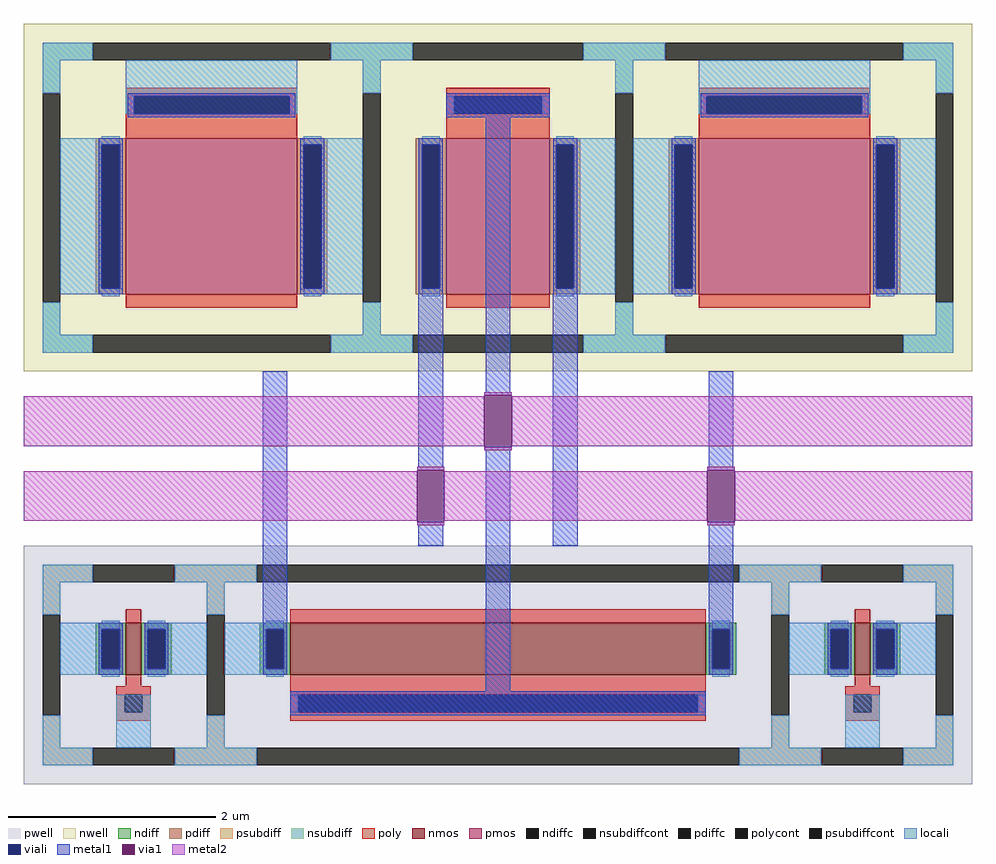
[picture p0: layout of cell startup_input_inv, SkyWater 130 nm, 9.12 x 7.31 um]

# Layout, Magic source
magic
tech sky130A
magscale 1 2
<< locali >>
rect 2024 498 2354 601
rect 3126 498 3456 601
rect 1898 151 1978 451
rect 2400 151 2480 451
rect 2886 151 2966 451
rect 3000 151 3080 451
rect 3502 151 3582 451
rect 1898 -581 1978 -481
rect 2100 -581 2180 -481
rect 2214 -581 2294 -481
rect 3300 -581 3380 -481
rect 3502 -581 3582 -481
rect 2006 -721 2072 -619
rect 3408 -721 3474 -619
<< metal1 >>
rect 2640 492 2840 538
rect 2287 -481 2335 3
rect 2587 -181 2635 151
rect 2716 -37 2764 492
rect 2714 -43 2766 -37
rect 2714 -149 2766 -143
rect 2585 -187 2637 -181
rect 2585 -293 2637 -287
rect 2587 -333 2635 -293
rect 2716 -613 2764 -149
rect 2845 -333 2893 151
rect 3145 -181 3193 3
rect 3143 -187 3195 -181
rect 3143 -293 3195 -287
rect 3145 -481 3193 -293
rect 2340 -659 3140 -613
<< via1 >>
rect 2714 -143 2766 -43
rect 2585 -287 2637 -187
rect 3143 -287 3195 -187
<< metal2 >>
rect 2714 -43 2766 -37
rect 1828 -141 2714 -45
rect 2766 -141 3652 -45
rect 2714 -149 2766 -143
rect 2585 -187 2637 -181
rect 1828 -285 2585 -189
rect 3143 -187 3195 -181
rect 2637 -285 3143 -189
rect 2585 -293 2637 -287
rect 3195 -285 3652 -189
rect 3143 -293 3195 -287
use sky130_fd_pr__nfet_01v8_DGP55P  sky130_fd_pr__nfet_01v8_DGP55P_0
transform 1 0 2740 0 1 -562
box -596 -229 596 229
use sky130_fd_pr__nfet_01v8_L9WNCD  sky130_fd_pr__nfet_01v8_L9WNCD_0
transform 1 0 3441 0 1 -562
box -211 -229 211 229
use sky130_fd_pr__nfet_01v8_L9WNCD  sky130_fd_pr__nfet_01v8_L9WNCD_1
transform 1 0 2039 0 1 -562
box -211 -229 211 229
use sky130_fd_pr__pfet_01v8_4N94TK  sky130_fd_pr__pfet_01v8_4N94TK_0
transform 1 0 3291 0 1 337
box -361 -334 361 334
use sky130_fd_pr__pfet_01v8_4N94TK  sky130_fd_pr__pfet_01v8_4N94TK_1
transform 1 0 2189 0 1 337
box -361 -334 361 334
use sky130_fd_pr__pfet_01v8_ADYTEV  sky130_fd_pr__pfet_01v8_ADYTEV_0
transform 1 0 2740 0 1 337
box -296 -334 296 334
<< end >>

# cell sky130_fd_pr__nfet_01v8_DGP55P: kit device sky130_fd_pr__nfet_01v8, w 0.5 l 4 m 1 nf 1 diffcov 100 polycov 100 guard 1 glc 1 grc 1 gtc 1 gbc 1 tbcov 100 rlcov 100 topc 0 botc 1 poverlap 0 doverlap 1 lmin 0.15 wmin 0.42 compatible {sky130_fd_pr__nfet_01v8 sky130_fd_pr__nfet_01v8_lvt sky130_fd_bs_flash__special_sonosfet_star sky130_fd_pr__nfet_g5v0d10v5 sky130_fd_pr__nfet_05v0_nvt sky130_fd_pr__nfet_03v3_nvt} full_metal 1 viasrc 100 viadrn 100 viagate 100 viagb 0 viagr 0 viagl 0 viagt 0

# cell sky130_fd_pr__nfet_01v8_L9WNCD: kit device sky130_fd_pr__nfet_01v8, w 0.5 l 0.15 m 1 nf 1 diffcov 100 polycov 100 guard 1 glc 1 grc 1 gtc 1 gbc 1 tbcov 100 rlcov 100 topc 0 botc 1 poverlap 0 doverlap 1 lmin 0.15 wmin 0.42 compatible {sky130_fd_pr__nfet_01v8 sky130_fd_pr__nfet_01v8_lvt sky130_fd_bs_flash__special_sonosfet_star sky130_fd_pr__nfet_g5v0d10v5 sky130_fd_pr__nfet_05v0_nvt sky130_fd_pr__nfet_03v3_nvt} full_metal 1 viasrc 100 viadrn 100 viagate 100 viagb 0 viagr 0 viagl 0 viagt 0

# cell sky130_fd_pr__pfet_01v8_4N94TK: kit device sky130_fd_pr__pfet_01v8, w 1.5 l 1.65 m 1 nf 1 diffcov 100 polycov 100 guard 1 glc 1 grc 1 gtc 1 gbc 1 tbcov 100 rlcov 100 topc 1 botc 0 poverlap 0 doverlap 1 lmin 0.15 wmin 0.42 compatible {sky130_fd_pr__pfet_01v8 sky130_fd_pr__pfet_01v8_lvt sky130_fd_pr__pfet_01v8_hvt sky130_fd_pr__pfet_g5v0d10v5} full_metal 1 viasrc 100 viadrn 100 viagate 100 viagb 0 viagr 0 viagl 0 viagt 0

# cell sky130_fd_pr__pfet_01v8_ADYTEV: kit device sky130_fd_pr__pfet_01v8, w 1.5 l 1 m 1 nf 1 diffcov 100 polycov 100 guard 1 glc 1 grc 1 gtc 1 gbc 1 tbcov 100 rlcov 100 topc 1 botc 0 poverlap 0 doverlap 1 lmin 0.15 wmin 0.42 compatible {sky130_fd_pr__pfet_01v8 sky130_fd_pr__pfet_01v8_lvt sky130_fd_pr__pfet_01v8_hvt sky130_fd_pr__pfet_g5v0d10v5} full_metal 1 viasrc 100 viadrn 100 viagate 100 viagb 0 viagr 0 viagl 0 viagt 0
